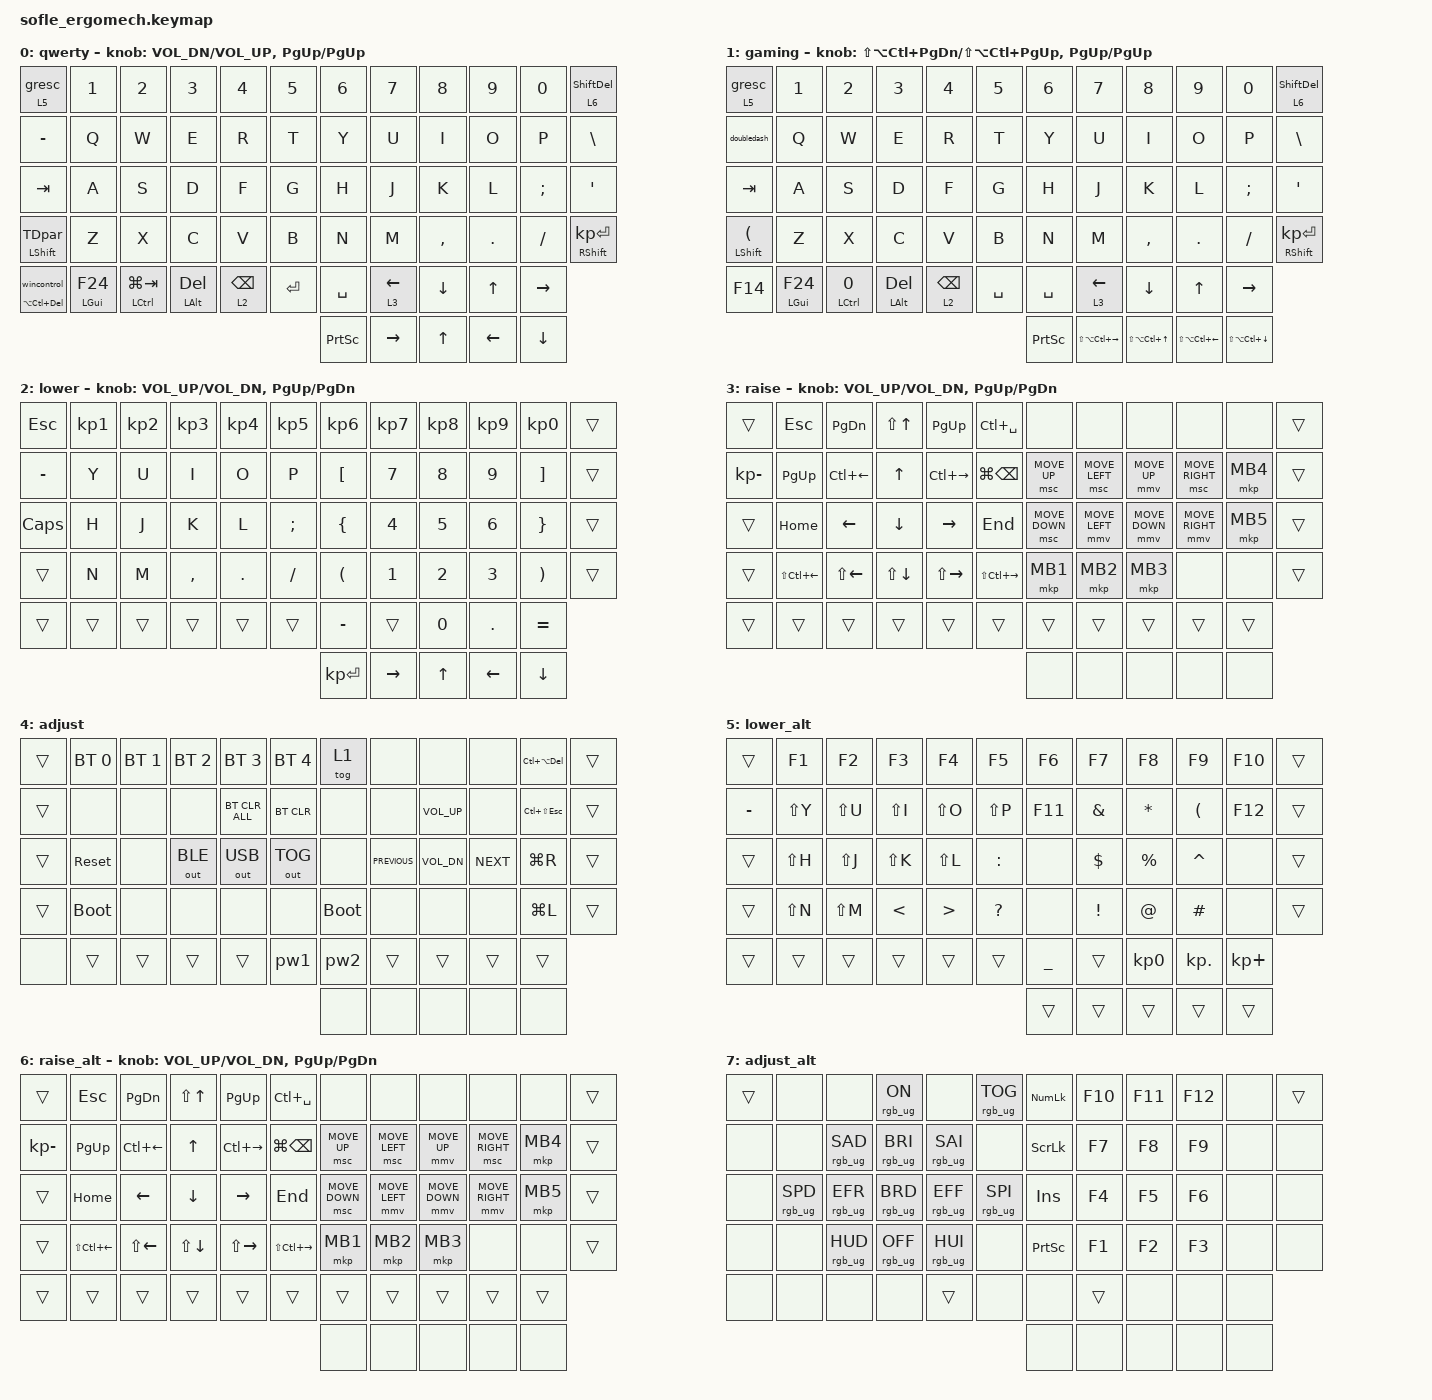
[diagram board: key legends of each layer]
/*
 * Copyright (c) 2020 The ZMK Contributors
 *
 * SPDX-License-Identifier: MIT
 */

#include <behaviors.dtsi>
#include <dt-bindings/zmk/bt.h>
#include <dt-bindings/zmk/keys.h>
#include <dt-bindings/zmk/mouse.h>
#include <dt-bindings/zmk/outputs.h>
#include <dt-bindings/zmk/rgb.h>

#define qwerty 0
#define gaming 1
#define lower 2
#define raise 3
#define adjust 4
#define lower_alt 5
#define raise_alt 6
#define adjust_alt 7

/ {
    // Activate ADJUST layer by pressing raise and lower

    conditional_layers {
        compatible = "zmk,conditional-layers";

        adjust {
            if-layers = <2 3>;
            then-layer = <4>;
        };

        adjust_alt {
            if-layers = <5 6>;
            then-layer = <7>;
        };

        doublelower {
            if-layers = <2 5>;
            then-layer = <4>;
        };

        doubleraise {
            if-layers = <3 6>;
            then-layer = <7>;
        };
    };

    behaviors {
        wincontrol: wincontrol {
            compatible = "zmk,behavior-tap-dance";
            label = "WINCONTROL";
            #binding-cells = <0>;
            bindings = <&kp LA(LG(K))>, <&kp LG(L)>, <&kp LS(LC(ESCAPE))>;

            tapping-term-ms = <400>;
        };

        wintap: wintap {
            compatible = "zmk,behavior-hold-tap";
            label = "WINTAP";
            #binding-cells = <2>;
            tapping-term-ms = <400>;
            bindings = <&kp>, <&wincontrol>;
        };

        TDpar: TDpar {
            compatible = "zmk,behavior-tap-dance";
            label = "TDPAR";
            #binding-cells = <0>;
            bindings = <&kp LEFT_PARENTHESIS>, <&kp RIGHT_PARENTHESIS>;

            tapping-term-ms = <250>;
        };

        MTpar: MTpar {
            compatible = "zmk,behavior-hold-tap";
            label = "MTPAR";
            bindings = <&kp>, <&TDpar>;

            #binding-cells = <2>;
            tapping-term-ms = <200>;
        };

        ShiftDel: ShiftDel {
            compatible = "zmk,behavior-mod-morph";
            label = "SHIFTDEL";
            bindings = <&kp BACKSPACE>, <&kp DELETE>;

            #binding-cells = <0>;
            mods = <(MOD_LSFT|MOD_RSFT)>;
        };

        LTescgrv: LTescgrv {
            compatible = "zmk,behavior-hold-tap";
            label = "LTESCGRV";
            bindings = <&mo>, <&gresc>;

            #binding-cells = <2>;
            tapping-term-ms = <250>;
            flavor = "tap-preferred";
            quick-tap-ms = <150>;
        };

        LTshiftdel: LTshiftdel {
            compatible = "zmk,behavior-hold-tap";
            label = "LTSHIFTDEL";
            bindings = <&mo>, <&ShiftDel>;

            #binding-cells = <2>;
            tapping-term-ms = <250>;
            flavor = "tap-preferred";
            quick-tap-ms = <150>;
        };

        TDundoredo: TDundoredo {
            compatible = "zmk,behavior-tap-dance";
            label = "TDUNDOREDO";
            #binding-cells = <0>;
            bindings = <&kp LC(Z)>, <&kp LC(Y)>;

            tapping-term-ms = <250>;
        };

        LTraiseup: LTraiseup {
            compatible = "zmk,behavior-hold-tap";
            label = "LTRAISEUP";
            bindings = <&mo>, <&kp>;

            #binding-cells = <2>;
            tapping-term-ms = <250>;
            quick-tap-ms = <150>;
            flavor = "tap-preferred";
        };
    };

    combos {
        compatible = "zmk,combos";

        cmb-cv {
            bindings = <&altC_click>;
            key-positions = <40 39>;
        };

        cmb-xc {
            bindings = <&shiftC_click>;
            key-positions = <39 38>;
        };

        cm90 {
            bindings = <&kp RIGHT_PARENTHESIS>;
            key-positions = <10 9>;
        };

        cm89 {
            bindings = <&kp LEFT_PARENTHESIS>;
            key-positions = <9 8>;
        };

        cm78 {
            bindings = <&kp RIGHT_BRACKET>;
            key-positions = <8 7>;
        };

        cm67 {
            bindings = <&kp LEFT_BRACKET>;
            key-positions = <6 7>;
        };

        cmb-asd {
            bindings = <&kp RIGHT_BRACKET>;
            key-positions = <25 26 27>;
        };

        cmb-dfg {
            bindings = <&kp LEFT_BRACKET>;
            key-positions = <29 28 27>;
        };

        cmb-GR12 {
            bindings = <&kp GRAVE>;
            key-positions = <0 1>;
        };

        cmb-copy {
            bindings = <&kp LC(C)>;
            key-positions = <38 39 40>;
        };

        cmb-paste {
            bindings = <&kp LC(V)>;
            key-positions = <41 40 39>;
        };

        cmb-cut {
            bindings = <&kp LC(X)>;
            key-positions = <37 38 39>;
        };

        cmb-undo {
            bindings = <&TDundoredo>;
            key-positions = <36 37 38>;
        };

        cmb-home {
            bindings = <&kp N>;
            key-positions = <28 27 26 25>;
        };

        cmb-wer {
            bindings = <&kp N7>;
            key-positions = <14 15 16>;
        };

        cmb-345 {
            bindings = <&kp I>;
            key-positions = <5 4 3>;
        };

        cmb-234 {
            bindings = <&kp U>;
            key-positions = <4 3 2>;
        };

        cmb-123 {
            bindings = <&kp Y>;
            key-positions = <1 2 3>;
        };

        cmb-45 {
            bindings = <&kp NUMBER_6>;
            key-positions = <4 5>;
        };
    };

    macros {
        doubledash: doubledash {
            compatible = "zmk,behavior-macro";
            #binding-cells = <0>;
            bindings =
                <&kp MINUS &kp LC(MINUS)>,
                <&macro_pause_for_release>,
                <&kp KP_MINUS &kp LC(KP_MINUS)>;

            label = "DOUBLEDASH";
            wait-ms = <50>;
        };

        shiftC_click: shiftC_click {
            compatible = "zmk,behavior-macro";
            #binding-cells = <0>;
            bindings = <&kp LS(C)>, <&macro_pause_for_release>, <&mkp MB1>;

            label = "SHIFTC_CLICK";
            wait-ms = <50>;
        };

        q_click: q_click {
            compatible = "zmk,behavior-macro";
            #binding-cells = <0>;
            bindings = <&kp Q>, <&macro_pause_for_release>, <&mkp MB1>;

            label = "Q_CLICK";
            wait-ms = <50>;
        };

        w_click: w_click {
            compatible = "zmk,behavior-macro";
            #binding-cells = <0>;
            bindings = <&kp W>, <&macro_pause_for_release>, <&mkp MB1>;

            label = "W_CLICK";
            wait-ms = <50>;
        };

        e_click: e_click {
            compatible = "zmk,behavior-macro";
            #binding-cells = <0>;
            bindings = <&kp E>, <&macro_pause_for_release>, <&mkp MB1>;

            label = "E_CLICK";
            wait-ms = <50>;
        };

        r_click: r_click {
            compatible = "zmk,behavior-macro";
            #binding-cells = <0>;
            bindings = <&kp R>, <&macro_pause_for_release>, <&mkp MB1>;

            label = "R_CLICK";
        };

        t_click: t_click {
            compatible = "zmk,behavior-macro";
            #binding-cells = <0>;
            bindings = <&kp T>, <&macro_pause_for_release>, <&mkp MB1>;

            label = "T_CLICK";
            wait-ms = <50>;
        };

        altC_click: altC_click {
            compatible = "zmk,behavior-macro";
            #binding-cells = <0>;
            bindings = <&kp LA(C)>, <&macro_pause_for_release>, <&mkp MB1>;

            label = "ALTC_CLICK";
            wait-ms = <50>;
        };
    };

    keymap {
        compatible = "zmk,keymap";

        qwerty_layer {
            label = "qwerty";
            bindings = <
&LTescgrv 5 0             &kp N1        &kp N2                    &kp N3               &kp N4           &kp N5     &kp N6           &kp N7             &kp N8        &kp N9    &kp N0     &LTshiftdel 6 0
&kp MINUS                 &kp Q         &kp W                     &kp E                &kp R            &kp T      &kp Y            &kp U              &kp I         &kp O     &kp P      &kp BACKSLASH
&kp TAB                   &kp A         &kp S                     &kp D                &kp F            &kp G      &kp H            &kp J              &kp K         &kp L     &kp SEMI   &kp SQT
&MTpar LEFT_SHIFT 0       &kp Z         &kp X                     &kp C                &kp V            &kp B      &kp N            &kp M              &kp COMMA     &kp DOT   &kp FSLH   &mt RIGHT_SHIFT KP_ENTER
&wintap LA(LC(DELETE)) 0  &mt LGUI F24  &mt LEFT_CONTROL LG(TAB)  &mt LEFT_ALT DELETE  &lt 2 BACKSPACE  &kp ENTER  &kp SPACE        &LTraiseup 3 LEFT  &kp DOWN      &kp UP    &kp RIGHT
                                                                                                                   &kp PRINTSCREEN  &kp RIGHT          &kp UP_ARROW  &kp LEFT  &kp DOWN
            >;

            sensor-bindings =
                <&inc_dec_kp C_VOL_DN C_VOLUME_UP>,
                <&inc_dec_kp PG_UP PG_UP>;
        };

        gaming_layer {
            label = "gaming";
            bindings = <
&LTescgrv 5 0                    &kp N1        &kp N2               &kp N3               &kp N4           &kp N5     &kp N6           &kp N7                 &kp N8                    &kp N9                      &kp N0                &LTshiftdel 6 0
&doubledash                      &kp Q         &kp W                &kp E                &kp R            &kp T      &kp Y            &kp U                  &kp I                     &kp O                       &kp P                 &kp BACKSLASH
&kp TAB                          &kp A         &kp S                &kp D                &kp F            &kp G      &kp H            &kp J                  &kp K                     &kp L                       &kp SEMI              &kp SQT
&mt LEFT_SHIFT LEFT_PARENTHESIS  &kp Z         &kp X                &kp C                &kp V            &kp B      &kp N            &kp M                  &kp COMMA                 &kp DOT                     &kp FSLH              &mt RIGHT_SHIFT KP_ENTER
&kp F14                          &mt LGUI F24  &mt LEFT_CONTROL N0  &mt LEFT_ALT DELETE  &lt 2 BACKSPACE  &kp SPACE  &kp SPACE        &LTraiseup 3 LEFT      &kp DOWN                  &kp UP                      &kp RIGHT
                                                                                                                     &kp PRINTSCREEN  &kp LS(LA(LC(RIGHT)))  &kp LS(LA(LC(UP_ARROW)))  &kp LS(LA(LC(LEFT_ARROW)))  &kp LS(LA(LC(DOWN)))
            >;

            sensor-bindings =
                <&inc_dec_kp LS(LA(LC(PAGE_DOWN))) LS(LA(LC(PAGE_UP)))>,
                <&inc_dec_kp PG_UP PG_UP>;
        };

        lower_layer {
            label = "lower";
            bindings = <
&kp ESC    &kp KP_NUMBER_1  &kp KP_NUMBER_2  &kp KP_NUMBER_3  &kp KP_NUMBER_4  &kp KP_NUMBER_5  &kp KP_NUMBER_6       &kp KP_NUMBER_7  &kp KP_NUMBER_8  &kp KP_NUMBER_9  &kp KP_NUMBER_0        &trans
&kp MINUS  &kp Y            &kp U            &kp I            &kp O            &kp P            &kp LEFT_BRACKET      &kp N7           &kp N8           &kp N9           &kp RBKT               &trans
&kp CAPS   &kp H            &kp J            &kp K            &kp L            &kp SEMI         &kp LEFT_BRACE        &kp N4           &kp N5           &kp N6           &kp RIGHT_BRACE        &trans
&trans     &kp N            &kp M            &kp COMMA        &kp DOT          &kp FSLH         &kp LEFT_PARENTHESIS  &kp N1           &kp N2           &kp N3           &kp RIGHT_PARENTHESIS  &trans
&trans     &trans           &trans           &trans           &trans           &trans           &kp MINUS             &trans           &kp N0           &kp PERIOD       &kp EQUAL
                                                                                                &kp KP_ENTER          &kp RIGHT        &kp UP_ARROW     &kp LEFT_ARROW   &kp DOWN
            >;

            sensor-bindings = <&inc_dec_kp C_VOL_UP C_VOL_DN &inc_dec_kp PG_UP PG_DN>;
        };

        raise_layer {
            label = "raise";
            bindings = <
&trans        &kp ESC           &kp PG_DN     &kp LS(UP)    &kp PG_UP      &kp LC(SPACE)      &none           &none           &none           &none            &none     &trans
&kp KP_MINUS  &kp PG_UP         &kp LC(LEFT)  &kp UP        &kp LC(RIGHT)  &kp LG(BSPC)       &msc MOVE_UP    &msc MOVE_LEFT  &mmv MOVE_UP    &msc MOVE_RIGHT  &mkp MB4  &trans
&trans        &kp HOME          &kp LEFT      &kp DOWN      &kp RIGHT      &kp END            &msc MOVE_DOWN  &mmv MOVE_LEFT  &mmv MOVE_DOWN  &mmv MOVE_RIGHT  &mkp MB5  &trans
&trans        &kp LS(LC(LEFT))  &kp LS(LEFT)  &kp LS(DOWN)  &kp LS(RIGHT)  &kp LS(LC(RIGHT))  &mkp MB1        &mkp MB2        &mkp MB3        &none            &none     &trans
&trans        &trans            &trans        &trans        &trans         &trans             &trans          &trans          &trans          &trans           &trans
                                                                                              &none           &none           &none           &none            &none
            >;

            sensor-bindings = <&inc_dec_kp C_VOL_UP C_VOL_DN &inc_dec_kp PG_UP PG_DN>;
        };

        adjust_layer {
            label = "adjust";
            bindings = <
&trans  &bt BT_SEL 0  &bt BT_SEL 1  &bt BT_SEL 2  &bt BT_SEL 3    &bt BT_SEL 4  &tog 1       &none           &none            &none       &kp LC(LA(DEL))     &trans
&trans  &none         &none         &none         &bt BT_CLR_ALL  &bt BT_CLR    &none        &none           &kp C_VOLUME_UP  &none       &kp LC(LS(ESCAPE))  &trans
&trans  &sys_reset    &none         &out OUT_BLE  &out OUT_USB    &out OUT_TOG  &none        &kp C_PREVIOUS  &kp C_VOL_DN     &kp C_NEXT  &kp LG(R)           &trans
&trans  &bootloader   &none         &none         &none           &none         &bootloader  &none           &none            &none       &kp LG(L)           &trans
&none   &trans        &trans        &trans        &trans          &pw1          &pw2         &trans          &trans           &trans      &trans
                                                                                &none        &none           &none            &none       &none
            >;
        };

        lower_alt {
            label = "lower_alt";
            bindings = <
&trans     &kp F1     &kp F2     &kp F3         &kp F4            &kp F5        &kp F6     &kp F7           &kp F8           &kp F9                &kp F10      &trans
&kp MINUS  &kp LS(Y)  &kp LS(U)  &kp LS(I)      &kp LS(O)         &kp LS(P)     &kp F11    &kp AMPERSAND    &kp ASTERISK     &kp LEFT_PARENTHESIS  &kp F12      &trans
&trans     &kp LS(H)  &kp LS(J)  &kp LS(K)      &kp LS(L)         &kp COLON     &none      &kp DOLLAR       &kp PERCENT      &kp CARET             &none        &trans
&trans     &kp LS(N)  &kp LS(M)  &kp LESS_THAN  &kp GREATER_THAN  &kp QUESTION  &none      &kp EXCLAMATION  &kp AT_SIGN      &kp HASH              &none        &trans
&trans     &trans     &trans     &trans         &trans            &trans        &kp UNDER  &trans           &kp KP_NUMBER_0  &kp KP_DOT            &kp KP_PLUS
                                                                                &trans     &trans           &trans           &trans                &trans
            >;
        };

        raise_alt {
            label = "raise_alt";
            bindings = <
&trans        &kp ESC           &kp PG_DN     &kp LS(UP)    &kp PG_UP      &kp LC(SPACE)      &none           &none           &none           &none            &none     &trans
&kp KP_MINUS  &kp PG_UP         &kp LC(LEFT)  &kp UP        &kp LC(RIGHT)  &kp LG(BSPC)       &msc MOVE_UP    &msc MOVE_LEFT  &mmv MOVE_UP    &msc MOVE_RIGHT  &mkp MB4  &trans
&trans        &kp HOME          &kp LEFT      &kp DOWN      &kp RIGHT      &kp END            &msc MOVE_DOWN  &mmv MOVE_LEFT  &mmv MOVE_DOWN  &mmv MOVE_RIGHT  &mkp MB5  &trans
&trans        &kp LS(LC(LEFT))  &kp LS(LEFT)  &kp LS(DOWN)  &kp LS(RIGHT)  &kp LS(LC(RIGHT))  &mkp MB1        &mkp MB2        &mkp MB3        &none            &none     &trans
&trans        &trans            &trans        &trans        &trans         &trans             &trans          &trans          &trans          &trans           &trans
                                                                                              &none           &none           &none           &none            &none
            >;

            sensor-bindings =
                <&inc_dec_kp C_VOL_UP C_VOL_DN>,
                <&inc_dec_kp PG_UP PG_DN>;
        };

        adjust_alt {
            label = "adjust_alt";
            bindings = <
&trans  &none            &none            &rgb_ug RGB_ON   &none            &rgb_ug RGB_TOG  &kp KP_NUMLOCK   &kp F10  &kp F11  &kp F12  &none  &trans
&none   &none            &rgb_ug RGB_SAD  &rgb_ug RGB_BRI  &rgb_ug RGB_SAI  &none            &kp SCROLLLOCK   &kp F7   &kp F8   &kp F9   &none  &none
&none   &rgb_ug RGB_SPD  &rgb_ug RGB_EFR  &rgb_ug RGB_BRD  &rgb_ug RGB_EFF  &rgb_ug RGB_SPI  &kp INSERT       &kp F4   &kp F5   &kp F6   &none  &none
&none   &none            &rgb_ug RGB_HUD  &rgb_ug RGB_OFF  &rgb_ug RGB_HUI  &none            &kp PRINTSCREEN  &kp F1   &kp F2   &kp F3   &none  &none
&none   &none            &none            &none            &trans           &none            &none            &trans   &none    &none    &none
                                                                                             &none            &none    &none    &none    &none
            >;
        };
    };
};
